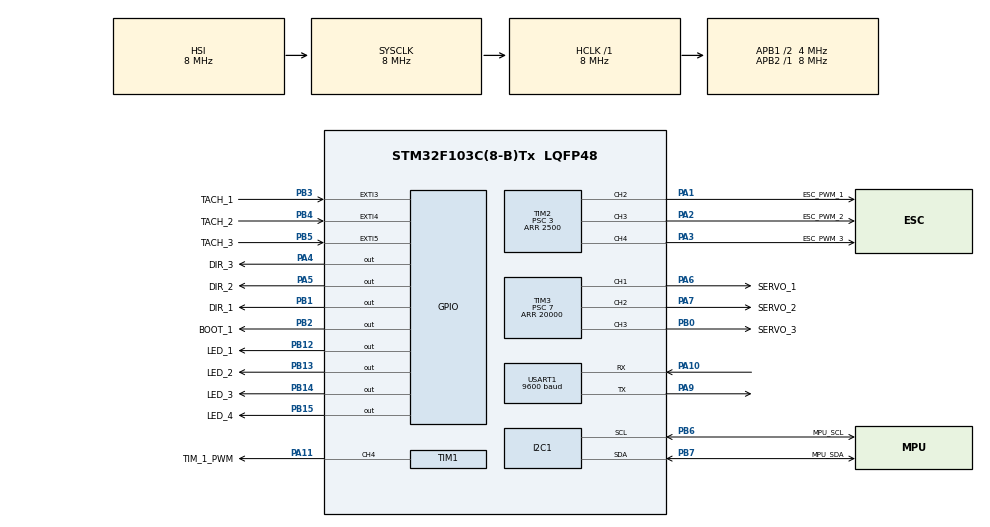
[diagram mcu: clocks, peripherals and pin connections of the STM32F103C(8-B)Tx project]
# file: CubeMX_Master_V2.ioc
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Dma.Request0=USART1_RX
Dma.USART1_RX.0.Direction=DMA_PERIPH_TO_MEMORY
Dma.USART1_RX.0.Instance=DMA1_Channel5
Dma.USART1_RX.0.MemDataAlignment=DMA_MDATAALIGN_BYTE
Dma.USART1_RX.0.MemInc=DMA_MINC_ENABLE
Dma.USART1_RX.0.Mode=DMA_CIRCULAR
Dma.USART1_RX.0.PeriphDataAlignment=DMA_PDATAALIGN_BYTE
Dma.USART1_RX.0.PeriphInc=DMA_PINC_DISABLE
Dma.USART1_RX.0.Priority=DMA_PRIORITY_LOW
Mcu.Family=STM32F1
Mcu.Name=STM32F103C(8-B)Tx
Mcu.Package=LQFP48
NVIC.DMA1_Channel5_IRQn=true\:0\:0\:false\:false\:true\:false
NVIC.PriorityGroup=NVIC_PRIORITYGROUP_4
PA1.GPIO_Label=ESC_PWM_1
PA1.Signal=S_TIM2_CH2
PA10.Mode=Asynchronous
PA10.Signal=USART1_RX
PA11.GPIO_Label=TIM_1_PWM
PA11.Signal=S_TIM1_CH4
PA13.GPIO_Label=DEBUG_SWDIO
PA13.Mode=Serial_Wire
PA13.Signal=SYS_JTMS-SWDIO
PA14.GPIO_Label=DEBUG_SWCLK
PA14.Mode=Serial_Wire
PA14.Signal=SYS_JTCK-SWCLK
PA2.GPIO_Label=ESC_PWM_2
PA2.Signal=S_TIM2_CH3
PA3.GPIO_Label=ESC_PWM_3
PA3.Signal=S_TIM2_CH4
PA4.GPIO_Label=DIR_3
PA4.GPIO_PuPd=GPIO_PULLDOWN
PA4.Signal=GPIO_Output
PA5.GPIO_Label=DIR_2
PA5.GPIO_PuPd=GPIO_PULLDOWN
PA5.Signal=GPIO_Output
PA6.GPIO_Label=SERVO_1
PA6.Signal=S_TIM3_CH1
PA7.GPIO_Label=SERVO_2
PA7.Signal=S_TIM3_CH2
PA9.Mode=Asynchronous
PA9.Signal=USART1_TX
PB0.GPIO_Label=SERVO_3
PB0.Signal=S_TIM3_CH3
PB1.GPIO_Label=DIR_1
PB1.GPIO_PuPd=GPIO_PULLDOWN
PB1.Signal=GPIO_Output
PB12.GPIO_Label=LED_1
PB12.Signal=GPIO_Output
PB13.GPIO_Label=LED_2
PB13.Signal=GPIO_Output
PB14.GPIO_Label=LED_3
PB14.Signal=GPIO_Output
PB15.GPIO_Label=LED_4
PB15.Signal=GPIO_Output
PB2.GPIO_Label=BOOT_1
PB2.Signal=GPIO_Output
PB3.GPIO_Label=TACH_1
PB3.Signal=GPXTI3
PB4.GPIO_Label=TACH_2
PB4.Signal=GPXTI4
PB5.GPIO_Label=TACH_3
PB5.Signal=GPXTI5
PB6.GPIO_Label=MPU_SCL
PB6.Mode=I2C
PB6.Signal=I2C1_SCL
PB7.GPIO_Label=MPU_SDA
PB7.Mode=I2C
PB7.Signal=I2C1_SDA
ProjectManager.HeapSize=0x200
ProjectManager.StackSize=0x400
ProjectManager.TargetToolchain=TrueSTUDIO
RCC.AHBFreq_Value=8000000
RCC.APB1CLKDivider=RCC_HCLK_DIV2
RCC.APB1Freq_Value=4000000
RCC.APB1TimFreq_Value=8000000
RCC.APB2Freq_Value=8000000
RCC.APB2TimFreq_Value=8000000
RCC.HCLKFreq_Value=8000000
RCC.SYSCLKFreq_VALUE=8000000
RCC.USBFreq_Value=8000000
SH.S_TIM1_CH4.0=TIM1_CH4,PWM Generation4 CH4
SH.S_TIM2_CH2.0=TIM2_CH2,PWM Generation2 CH2
SH.S_TIM2_CH3.0=TIM2_CH3,PWM Generation3 CH3
SH.S_TIM2_CH4.0=TIM2_CH4,PWM Generation4 CH4
SH.S_TIM3_CH1.0=TIM3_CH1,PWM Generation1 CH1
SH.S_TIM3_CH2.0=TIM3_CH2,PWM Generation2 CH2
SH.S_TIM3_CH3.0=TIM3_CH3,PWM Generation3 CH3
TIM1.Channel-PWM\ Generation4\ CH4=TIM_CHANNEL_4
TIM1.Period=65535
TIM1.Prescaler=64
TIM2.Channel-PWM\ Generation2\ CH2=TIM_CHANNEL_2
TIM2.Channel-PWM\ Generation3\ CH3=TIM_CHANNEL_3
TIM2.Channel-PWM\ Generation4\ CH4=TIM_CHANNEL_4
TIM2.Period=2500
TIM2.Prescaler=3
TIM3.Channel-PWM\ Generation1\ CH1=TIM_CHANNEL_1
TIM3.Channel-PWM\ Generation2\ CH2=TIM_CHANNEL_2
TIM3.Channel-PWM\ Generation3\ CH3=TIM_CHANNEL_3
TIM3.Period=20000
TIM3.Prescaler=7
USART1.BaudRate=9600
USART1.VirtualMode=VM_ASYNC
VP_TIM2_VS_ClockSourceINT.Mode=Internal
board=custom

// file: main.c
/* USER CODE BEGIN Header */
/**
  ******************************************************************************
  * @file           : main.c
  * @brief          : Main program body
  ******************************************************************************
  ** This notice applies to any and all portions of this file
  * that are not between comment pairs USER CODE BEGIN and
  * USER CODE END. Other portions of this file, whether
  * inserted by the user or by software development tools
  * are owned by their respective copyright owners.
  *
  * COPYRIGHT(c) 2019 STMicroelectronics
  *
  * Redistribution and use in source and binary forms, with or without modification,
  * are permitted provided that the following conditions are met:
  *   1. Redistributions of source code must retain the above copyright notice,
  *      this list of conditions and the following disclaimer.
  *   2. Redistributions in binary form must reproduce the above copyright notice,
  *      this list of conditions and the following disclaimer in the documentation
  *      and/or other materials provided with the distribution.
  *   3. Neither the name of STMicroelectronics nor the names of its contributors
  *      may be used to endorse or promote products derived from this software
  *      without specific prior written permission.
  *
  * THIS SOFTWARE IS PROVIDED BY THE COPYRIGHT HOLDERS AND CONTRIBUTORS "AS IS"
  * AND ANY EXPRESS OR IMPLIED WARRANTIES, INCLUDING, BUT NOT LIMITED TO, THE
  * IMPLIED WARRANTIES OF MERCHANTABILITY AND FITNESS FOR A PARTICULAR PURPOSE ARE
  * DISCLAIMED. IN NO EVENT SHALL THE COPYRIGHT HOLDER OR CONTRIBUTORS BE LIABLE
  * FOR ANY DIRECT, INDIRECT, INCIDENTAL, SPECIAL, EXEMPLARY, OR CONSEQUENTIAL
  * DAMAGES (INCLUDING, BUT NOT LIMITED TO, PROCUREMENT OF SUBSTITUTE GOODS OR
  * SERVICES; LOSS OF USE, DATA, OR PROFITS; OR BUSINESS INTERRUPTION) HOWEVER
  * CAUSED AND ON ANY THEORY OF LIABILITY, WHETHER IN CONTRACT, STRICT LIABILITY,
  * OR TORT (INCLUDING NEGLIGENCE OR OTHERWISE) ARISING IN ANY WAY OUT OF THE USE
  * OF THIS SOFTWARE, EVEN IF ADVISED OF THE POSSIBILITY OF SUCH DAMAGE.
  *
  ******************************************************************************
  */
/* USER CODE END Header */

#include "main.h"

/* USER CODE BEGIN Includes */
#include <stdlib.h>
#include "quaternionFilters.h"

/* USER CODE END Includes */

I2C_HandleTypeDef hi2c1;

TIM_HandleTypeDef htim1;
TIM_HandleTypeDef htim2;
TIM_HandleTypeDef htim3;

UART_HandleTypeDef huart1;
DMA_HandleTypeDef hdma_usart1_rx;

void SystemClock_Config(void);
static void MX_GPIO_Init(void);
static void MX_DMA_Init(void);
static void MX_I2C1_Init(void);
static void MX_USART1_UART_Init(void);
static void MX_TIM2_Init(void);
static void MX_TIM3_Init(void);
static void MX_TIM1_Init(void);

/* USER CODE BEGIN 0 */

//Stuff for cube flip
int pwm_esc1 = 0;
int pwm_esc2 = 0;
int pwm_esc3 = 0;

int pwm_servo1 = 0;
int pwm_servo2 = 0;
int pwm_servo3 = 0;
int dummy = 0;

//Stuff for loop time
uint8_t sendCount;
uint32_t mainCountPrev, mainCountCurr, mainCount;

//Stuff for Bluetooth
uint8_t dataRX[6];
uint8_t dataTX[100];

//Stuff for MPU
uint8_t i2cBuff[15];
uint16_t mpu6050Address = 0xD0;
uint16_t ak8963Address = 0x18;
int16_t gx, gy, gz, ax, ay, az, mx, my, mz;
int32_t gxOff, gyOff, gzOff;
int32_t axOff, ayOff, azOff;
int32_t mxOff, myOff, mzOff;
float mxScale, myScale, mzScale;
uint16_t loop;
double Xang, Yang, Zang;
double XangVel, YangVel, ZangVel, Xacc, Yacc, Zacc;
double XDegree, YDegree, ZDegree;
double XgyroAng, YgyroAng, ZgyroAng, XaccAng, YaccAng, ZaccAng;
float alpha = 0.02;
uint8_t outstrX[10];
uint8_t outstrY[10];
uint8_t outstrZ[10];

//Stuff for printing the angles
char *XSign, *YSign, *ZSign;
float XVal, YVal, ZVal;
int XInt1, YInt1, ZInt1;
float XFrac, YFrac, ZFrac;
int XInt2, YInt2, ZInt2;

char *XGyrSign, *YGyrSign, *ZGyrSign;
float XGyrVal, YGyrVal, ZGyrVal;
int XGyrInt1, YGyrInt1, ZGyrInt1;
float XGyrFrac, YGyrFrac, ZGyrFrac;
int XGyrInt2, YGyrInt2, ZGyrInt2;

char *XAccSign, *YAccSign, *ZAccSign;
float XAccVal, YAccVal, ZAccVal;
int XAccInt1, YAccInt1, ZAccInt1;
float XAccFrac, YAccFrac, ZAccFrac;
int XAccInt2, YAccInt2, ZAccInt2;

/* USER CODE END 0 */

int main(void)
{

  /* MCU Configuration--------------------------------------------------------*/

  /* Reset of all peripherals, Initializes the Flash interface and the Systick. */
  HAL_Init();

  /* Configure the system clock */
  SystemClock_Config();

  /* Initialize all configured peripherals */
  MX_GPIO_Init();
  MX_DMA_Init();
  MX_I2C1_Init();
  MX_USART1_UART_Init();
  MX_TIM2_Init();
  MX_TIM3_Init();
  MX_TIM1_Init();
  /* USER CODE BEGIN 2 */

  //Begin PWM
  HAL_TIM_PWM_Start(&htim1, TIM_CHANNEL_4);
  HAL_TIM_PWM_Start(&htim2, TIM_CHANNEL_3);
  HAL_TIM_PWM_Start(&htim3, TIM_CHANNEL_3);
  HAL_Delay(3000);
  __HAL_TIM_SET_COMPARE(&htim2, TIM_CHANNEL_3, 350);
  __HAL_TIM_SET_COMPARE(&htim3, TIM_CHANNEL_3, 700); // 680 implies the brake is not active

  //Enable i2c bypass on mpu9250
  i2cBuff[0] = 0x37;
  i2cBuff[1] = 0x02;
  HAL_I2C_Master_Transmit(&hi2c1, mpu6050Address, i2cBuff, 2, 100);

  //Wake up MPU
  i2cBuff[0] = 0x6B;
  i2cBuff[1] = 0x00;
  HAL_I2C_Master_Transmit(&hi2c1, mpu6050Address, i2cBuff, 2, 100);

  //Set Gyro Range to +/- 250 deg/sec
  i2cBuff[0] = 0x27;
  i2cBuff[1] = 0x00;
  HAL_I2C_Master_Transmit(&hi2c1, mpu6050Address, i2cBuff, 2, 100);

  //Set Accel Range to +/- 2g
  i2cBuff[0] = 0x1C;
  i2cBuff[1] = 0x00;
  HAL_I2C_Master_Transmit(&hi2c1, mpu6050Address, i2cBuff, 2, 100);

  //Set Mag range to 16 bits and mode to continuous 100Hz measurement
  i2cBuff[0] = 0x0A;
  i2cBuff[1] = 0x16;
  HAL_I2C_Master_Transmit(&hi2c1, ak8963Address, i2cBuff, 2, 100);

  //Get data from Bluetooth
  sprintf(dataTX, "Press any Button to Start.\r\n");
  HAL_UART_Transmit(&huart1, dataTX, strlen(dataTX), 1000);
  sprintf(dataRX, "______");
  HAL_UART_Receive_DMA(&huart1, dataRX, 6);

  //Set initial offsets
  gxOff = -480; //X-Offset
  gyOff = 100; //Y-Offset
  gzOff = 100; //Z-Offset
  axOff = 700; //X-Offset
  ayOff = -650; //Y-Offset
  azOff = -1800; //Z-Offset

  /* USER CODE END 2 */

  /* Infinite loop */
  while (1)
  {

    /* USER CODE BEGIN 3 */

	  //See if mag data is ready
	  i2cBuff[0]= 0x02; //Data is ready register
	  HAL_I2C_Master_Transmit(&hi2c1, ak8963Address, i2cBuff, 1, 20);
	  i2cBuff[1] = 0x00;
	  HAL_I2C_Master_Receive(&hi2c1, ak8963Address, &i2cBuff[1], 1, 20);
	  if (i2cBuff[1] & 0x01){
		  //Get mag data
		  i2cBuff[0]= 0x03; //Magnetometer address
		  HAL_I2C_Master_Transmit(&hi2c1, ak8963Address, i2cBuff, 1, 20);
		  i2cBuff[1] = 0x00;
		  HAL_I2C_Master_Receive(&hi2c1, ak8963Address, &i2cBuff[1], 7, 20);
		  //See if magnetometer has overflowed
		  if (!(i2cBuff[7] & 0x08)){
			  mx = (i2cBuff[2]<<8  |  i2cBuff[1]);
			  my = (i2cBuff[4]<<8  |  i2cBuff[3]);
			  mz = (i2cBuff[6]<<8  |  i2cBuff[5]);
			  //sprintf(dataTX, "Xmag = %d, Ymag = %d, Zmag = %d\r\n", mx, my, mz);
			  //HAL_UART_Transmit(&huart1, dataTX, strlen(dataTX), 1000);
		  }
	  }

	  //For testing
	  HAL_GPIO_WritePin(GPIOB, GPIO_PIN_14, 1);

	  //Get gyroscope info
	  i2cBuff[0]= 0x3B; //Accelerometer addresses
	  HAL_I2C_Master_Transmit(&hi2c1, mpu6050Address, i2cBuff, 1, 20);

	  i2cBuff[1] = 0x00;
	  HAL_I2C_Master_Receive(&hi2c1, mpu6050Address, &i2cBuff[1], 14, 20);

	  ax = (i2cBuff[1]<<8 | i2cBuff[2]);
	  ay = (i2cBuff[3]<<8 | i2cBuff[4]);
	  az = (i2cBuff[5]<<8 | i2cBuff[6]);
	  gx = (i2cBuff[9]<<8  | i2cBuff[10]);
	  gy = (i2cBuff[11]<<8 | i2cBuff[12]);
	  gz = (i2cBuff[13]<<8 | i2cBuff[14]);

	  //Subtract offsets
	  gx -=  gxOff; //X-Offset
	  gy -=  gyOff; //Y-Offset
	  gz -=  gzOff; //Z-Offset
	  ax -=  axOff; //X-Offset
	  ay -=  ayOff; //Y-Offset
	  az -=  azOff; //Z-Offset

	  //Convert accelerations to g's
	  Xacc = ((double)ax / 32768) * 2;
	  Yacc = ((double)ay / 32768) * 2;
	  Zacc = ((double)az / 32768) * 2;

	  //Find angle from direction of gravitational acceleration
	  XaccAng = atan2(Yacc, sqrt((Xacc * Xacc) + (Zacc * Zacc))) * 57.2958;
	  YaccAng = -atan2(Xacc, sqrt((Yacc * Yacc) + (Zacc * Zacc))) * 57.2958;
	  ZaccAng = atan2(Zacc, sqrt((Xacc * Xacc) + (Yacc * Yacc))) * 57.2958;

	  //Find angle from direction of gravitational acceleration using other formula
	  //XaccAng = atan2(Yacc, Zacc) * 57.2958;
	  //YaccAng = atan2(Xacc, Zacc) * 57.2958;
	  //ZaccAng = atan2(Xacc, Yacc) * 57.2958;

	  //Convert angular velocities to deg/sec
	  XangVel = ((double)gx / 32768) * 250;
	  YangVel = ((double)gy / 32768) * 250;
	  ZangVel = ((double)gz / 32768) * 250;

	  //Get the time since the last MPU read
	  mainCountCurr = (uint32_t)__HAL_TIM_GET_COUNTER(&htim1); //Using timer 1 for testing
	  mainCount = mainCountCurr - mainCountPrev;
	  if (mainCount > 66000){
		  mainCount = mainCount + 65535; //Make mainCount positive if the timer rolled over
	  }
	  mainCountPrev = mainCountCurr;
	  mainCount = (mainCount * 64) / 8; //Main loop time in us

	  //Find degrees turned since last read
	  /*XDegree = XangVel * ((float)mainCount / 1000000); //Using a sampling rate of 10 ms
	  YDegree = YangVel * ((float)mainCount / 1000000); //Main loop seems to take an extra 4 ms
	  ZDegree = ZangVel * ((float)mainCount / 1000000);*/

	    XDegree = XangVel * 0.013; //Using a sampling rate of 10 ms
	    YDegree = YangVel * 0.013; //Main loop seems to take an extra 4 ms
	  	ZDegree = ZangVel * 0.013;

	  //Integrate angular velocities
	  XgyroAng += XDegree;
	  YgyroAng += YDegree;
	  ZgyroAng += ZDegree;

	  //Get the filtered angles
	  Xang = ((1.0 - alpha) * (Xang + XDegree)) + (alpha * XaccAng);
	  Yang = ((1.0 - alpha) * (Yang + YDegree)) + (alpha * YaccAng);
	  Zang = ((1.0 - alpha) * (Zang + ZDegree)) + (alpha * ZaccAng);

	  //Test motor
	  if (strcmp(dataRX, "TEST\r\n") == 0) {
		  sprintf(dataRX, "______");
	  	  sprintf(dataTX, "Testing Motors...\r\n");
	  	  HAL_UART_Transmit(&huart1, dataTX, strlen(dataTX), 1000);

		  //Motor Test Code
		  HAL_Delay(3000);
		  for(pwm_esc1 = 350; pwm_esc1 <= 2100; pwm_esc1++ ){
			  __HAL_TIM_SET_COMPARE(&htim2, TIM_CHANNEL_3, pwm_esc1);
			  HAL_Delay(30);
		  }

		  __HAL_TIM_SET_COMPARE(&htim2, TIM_CHANNEL_3, 350);
		  sprintf(dataTX, "Test Finished!\r\n");
		  HAL_UART_Transmit(&huart1, dataTX, strlen(dataTX), 1000);
	  }

	  //Test servo
      if (strcmp(dataRX, "SERV\r\n") == 0) {
	  	  sprintf(dataRX, "______");
	   	  sprintf(dataTX, "Testing Servo...\r\n");
	   	  HAL_UART_Transmit(&huart1, dataTX, strlen(dataTX), 1000);

	  	  //Motor Test Code
	  	  HAL_Delay(3000);
	  	  for(pwm_servo1 = 700; pwm_servo1 >= 580; pwm_servo1-- ){
	  		  __HAL_TIM_SET_COMPARE(&htim3, TIM_CHANNEL_3, pwm_servo1);
	  		  HAL_Delay(100);
	  	  }

  		  __HAL_TIM_SET_COMPARE(&htim3, TIM_CHANNEL_3, 680);
  		  sprintf(dataTX, "Test Finished!\r\n");
  		  HAL_UART_Transmit(&huart1, dataTX, strlen(dataTX), 1000);
  	  }

	  //Test cube flip
      if (strcmp(dataRX, "FLIP\r\n") == 0) {
	  	  sprintf(dataRX, "______");
	   	  sprintf(dataTX, "Flipping Cube...\r\n");
	   	  HAL_UART_Transmit(&huart1, dataTX, strlen(dataTX), 1000);

	  	  //Cube Flip Test Code
		  HAL_Delay(5000);                                    //Small delay before flipping program begins
		  __HAL_TIM_SET_COMPARE(&htim3, TIM_CHANNEL_3, 700);  //Deactivate brake
		  HAL_Delay(500);                                     //Small delay for timing purposes
	   	  sprintf(dataTX, "Ramping up motor...\r\n");
	   	  HAL_UART_Transmit(&huart1, dataTX, strlen(dataTX), 1000);
		  for (pwm_esc1 = 350; pwm_esc1 <= 1800; pwm_esc1++ ){
			  __HAL_TIM_SET_COMPARE(&htim2, TIM_CHANNEL_3, pwm_esc1); //Slowly ramp wheel to max speed
			  HAL_Delay(25);
		  }
		  //__HAL_TIM_SET_COMPARE(&htim2, TIM_CHANNEL_2, 1500); //Set wheel to max speed
	   	  sprintf(dataTX, "About to flip...\r\n");
	   	  HAL_UART_Transmit(&huart1, dataTX, strlen(dataTX), 1000);
		  HAL_Delay(12000);                                   //Gives 12 seconds for wheel to spin up
		  __HAL_TIM_SET_COMPARE(&htim2, TIM_CHANNEL_3, 0);    //Cuts power to wheel
		  HAL_Delay(20);                                      //Small delay so events don't overlap
		  __HAL_TIM_SET_COMPARE(&htim3, TIM_CHANNEL_3, 560);  //Activate brake
		  HAL_Delay(1000);                                    //Waits 1 second for timing purposes
		  __HAL_TIM_SET_COMPARE(&htim3, TIM_CHANNEL_3, 700);  //Deactivate brake
		  __HAL_TIM_SET_COMPARE(&htim2, TIM_CHANNEL_3, 0);  //Reset motor to normal running speed

  		  sprintf(dataTX, "Test Finished!\r\n");
  		  HAL_UART_Transmit(&huart1, dataTX, strlen(dataTX), 1000);
  	  }

	  //Get loop time
	  if (strcmp(dataRX, "TIME\r\n") == 0) {
		  sprintf(dataTX, "%lu\r\n", mainCount);
		  HAL_UART_Transmit(&huart1, dataTX, strlen(dataTX), 1000);
	  }

	  //Calibrate
	  if (strcmp(dataRX, "CALB\r\n") == 0) {
		  //Send confirmation to Bluetooth
		  sprintf(dataRX, "______");
		  sprintf(dataTX, "Calibration Starting....\r\n");
		  HAL_UART_Transmit(&huart1, dataTX, strlen(dataTX), 1000);

		  gxOff = 0; //X-Offset
		  gyOff = 0; //Y-Offset
		  gzOff = 0; //Z-Offset
		  axOff = 0; //X-Offset
		  ayOff = 0; //Y-Offset
		  azOff = 0; //Z-Offset

		  //Reset gyro angles
		  XgyroAng = 0;
		  YgyroAng = 0;
		  ZgyroAng = 0;

		  //Burn 100 read cycles
		  for (loop = 0; loop < 100; loop++){
			  i2cBuff[0]= 0x3B; //Accelerometer addresses
			  HAL_I2C_Master_Transmit(&hi2c1, mpu6050Address, i2cBuff, 1, 20);
			  i2cBuff[1] = 0x00;
			  HAL_I2C_Master_Receive(&hi2c1, mpu6050Address, &i2cBuff[1], 14, 20);
		  }

		  //Add the next 1000 reads
		  for (loop = 0; loop < 1000; loop++){
		  	  i2cBuff[0]= 0x3B; //Accelerometer addresses
		  	  HAL_I2C_Master_Transmit(&hi2c1, mpu6050Address, i2cBuff, 1, 20);
		      i2cBuff[1] = 0x00;
		      HAL_I2C_Master_Receive(&hi2c1, mpu6050Address, &i2cBuff[1], 14, 20);

		      ax = (i2cBuff[1]<<8  |  i2cBuff[2]);
		      ay = (i2cBuff[3]<<8  |  i2cBuff[4]);
		      az = (i2cBuff[5]<<8  |  i2cBuff[6]);
		      gx = (i2cBuff[9]<<8  | i2cBuff[10]);
		      gy = (i2cBuff[11]<<8 | i2cBuff[12]);
		      gz = (i2cBuff[13]<<8 | i2cBuff[14]);

		      axOff += ax;
		      ayOff += ay;
		      azOff += (az - 16384);
		      gxOff += gx;
		      gyOff += gy;
		      gzOff += gz;
		  }

		  //Find the averages
		  axOff /= 1000;
		  ayOff /= 1000;
		  azOff /= 1000;
		  gxOff /= 1000;
		  gyOff /= 1000;
		  gzOff /= 1000;

/*
		  sprintf(dataTX, "Wave the device in a figure-eight pattern.\r\n");
		  HAL_UART_Transmit(&huart1, dataTX, strlen(dataTX), 1000);

		  //Calibrate magnetometer
		  uint16_t ii = 0;
		  int32_t mag_bias[3]  = {0, 0, 0},
		          mag_scale[3] = {0, 0, 0};
		  int16_t mag_max[3]   = {-32768, -32768, -32768},
		          mag_min[3]   = {32767, 32767, 32767},
		          mag_temp[3]  = {0, 0, 0};

		  for (ii = 0; ii < 1500; ii++){

			i2cBuff[0]= 0x03;
			HAL_I2C_Master_Transmit(&hi2c1, ak8963Address, i2cBuff, 1, 20);
			i2cBuff[1] = 0x00;
			HAL_I2C_Master_Receive(&hi2c1, ak8963Address, &i2cBuff[1], 6, 20);
			mag_temp[0] = (i2cBuff[2]<<8  |  i2cBuff[1]);
			mag_temp[1] = (i2cBuff[4]<<8  |  i2cBuff[3]);
			mag_temp[2] = (i2cBuff[6]<<8  |  i2cBuff[5]);

		    for (int jj = 0; jj < 3; jj++){
		      if (mag_temp[jj] > mag_max[jj]){
		        mag_max[jj] = mag_temp[jj];
		      }
		      if (mag_temp[jj] < mag_min[jj]){
		        mag_min[jj] = mag_temp[jj];
		      }
		    }

		    HAL_Delay(12);
		  }

		  // Get hard iron correction
		  // Get 'average' x mag bias in counts
		  mag_bias[0] = (mag_max[0] + mag_min[0]) / 2;
		  // Get 'average' y mag bias in counts
		  mag_bias[1] = (mag_max[1] + mag_min[1]) / 2;
		  // Get 'average' z mag bias in counts
		  mag_bias[2] = (mag_max[2] + mag_min[2]) / 2;

		  mxOff = mag_bias[0];
		  myOff = mag_bias[1];
		  mzOff = mag_bias[2];

		  // Get soft iron correction estimate
		  // Get average x axis max chord length in counts
		  mag_scale[0] = (mag_max[0] - mag_min[0]) / 2;
		  // Get average y axis max chord length in counts
		  mag_scale[1] = (mag_max[1] - mag_min[1]) / 2;
		  // Get average z axis max chord length in counts
		  mag_scale[2] = (mag_max[2] - mag_min[2]) / 2;

		  float avg_rad = mag_scale[0] + mag_scale[1] + mag_scale[2];
		  avg_rad /= 3.0;

		  mxScale = avg_rad / ((float)mag_scale[0]);
		  myScale = avg_rad / ((float)mag_scale[1]);
		  mzScale = avg_rad / ((float)mag_scale[2]);

		  //Send confirmation of calibration to Bluetooth
		  sprintf(dataTX, "Finished!\nCalibration Offsets are:\naxOff=%d, ayOff=%d, azOff=%d,\ngxOff=%d, gyOff=%d, gzOff=%d,"
				  "\nmxOff=%d, myOff=%d, mzOff=%d,\nmxScale=%d, myScale=%d, mzScale=%d\r\n",
				  axOff, ayOff, azOff, gxOff, gyOff, gzOff,
				  mxOff, myOff, mzOff, mxScale, myScale, mzScale);
		  HAL_UART_Transmit(&huart1, dataTX, strlen(dataTX), 1000);
		  */
	  }

	  //Send angle info to Bluetooth for testing purposes
	  if ((strcmp(dataRX, "SEND\r\n") == 0) && ((sendCount % 16) == 0)) {
		  //Clear RX buffer
		  //sprintf(dataRX, "______");

		  //This converts the floats to a series of three ints,
		  //As there is no support for printing floats in the STM32
		  XGyrSign = (XgyroAng < 0) ? "-" : " ";
		  XGyrVal = (XgyroAng < 0) ? -XgyroAng : XgyroAng;
		  XGyrInt1 = XGyrVal;                      // Get the integer
		  XGyrFrac = XGyrVal - XGyrInt1;            // Get fraction
		  XGyrInt2 = trunc(XGyrFrac * 100);        // Turn into integer

		  YGyrSign = (YgyroAng < 0) ? "-" : " ";
		  YGyrVal = (YgyroAng < 0) ? -YgyroAng : YgyroAng;
		  YGyrInt1 = YGyrVal;                      // Get the integer
		  YGyrFrac = YGyrVal - YGyrInt1;            // Get fraction
		  YGyrInt2 = trunc(YGyrFrac * 100);        // Turn into integer

		  ZGyrSign = (ZgyroAng < 0) ? "-" : " ";
		  ZGyrVal = (ZgyroAng < 0) ? -ZgyroAng : ZgyroAng;
		  ZGyrInt1 = ZGyrVal;                      // Get the integer
		  ZGyrFrac = ZGyrVal - ZGyrInt1;            // Get fraction
		  ZGyrInt2 = trunc(ZGyrFrac * 100);        // Turn into integer
		  //sprintf(dataTX, "Xacc = %d, Yacc = %d, Zacc = %d\r\n", ax, ay, az);

		  //This converts the floats to a series of three ints
		  XAccSign = (XaccAng < 0) ? "-" : " ";
		  XAccVal = (XaccAng < 0) ? -XaccAng : XaccAng;
		  XAccInt1 = XAccVal;                      // Get the integer
		  XAccFrac = XAccVal - XAccInt1;              // Get fraction
		  XAccInt2 = trunc(XAccFrac * 100);        // Turn into integer

		  YAccSign = (YaccAng < 0) ? "-" : " ";
		  YAccVal = (YaccAng < 0) ? -YaccAng : YaccAng;
		  YAccInt1 = YAccVal;                      // Get the integer
		  YAccFrac = YAccVal - YAccInt1;              // Get fraction
		  YAccInt2 = trunc(YAccFrac * 100);        // Turn into integer

		  ZAccSign = (ZaccAng < 0) ? "-" : " ";
		  ZAccVal = (ZaccAng < 0) ? -ZaccAng : ZaccAng;
		  ZAccInt1 = ZAccVal;                      // Get the integer
		  ZAccFrac = ZAccVal - ZAccInt1;              // Get fraction
		  ZAccInt2 = trunc(ZAccFrac * 100);        // Turn into integer
		  //sprintf(dataTX, "Xang = %d, Yang = %d, Zang = %d\r\n", gx, gy, gz);

		  //This converts the floats to a series of three ints
		  XSign = (Xang < 0) ? "-" : " ";
		  XVal = (Xang < 0) ? -Xang : Xang;
		  XInt1 = XVal;                      // Get the integer
		  XFrac = XVal - XInt1;              // Get fraction
		  XInt2 = trunc(XFrac * 100);        // Turn into integer

		  YSign = (Yang < 0) ? "-" : " ";
		  YVal = (Yang < 0) ? -Yang : Yang;
		  YInt1 = YVal;                      // Get the integer
		  YFrac = YVal - YInt1;              // Get fraction
		  YInt2 = trunc(YFrac * 100);        // Turn into integer

		  ZSign = (Zang < 0) ? "-" : " ";
		  ZVal = (Zang < 0) ? -Zang : Zang;
		  ZInt1 = ZVal;                      // Get the integer
		  ZFrac = ZVal - ZInt1;              // Get fraction
		  ZInt2 = trunc(ZFrac * 100);        // Turn into integer

		  sprintf(dataTX, "%s%d.%02d,%s%d.%02d, %s%d.%02d,%s%d.%02d, %s%d.%02d,%s%d.%02d\r\n",
		  		  XGyrSign, XGyrInt1, XGyrInt2, YGyrSign, YGyrInt1, YGyrInt2,
		  		  XAccSign, XAccInt1, XAccInt2, YAccSign, YAccInt1, YAccInt2,
				  XSign, XInt1, XInt2, YSign, YInt1, YInt2);

		  //Send Bluetooth
		  HAL_UART_Transmit(&huart1, dataTX, strlen(dataTX), 1000);
	  }
	  sendCount++;

	  //For testing
	  HAL_GPIO_WritePin(GPIOB, GPIO_PIN_14, 0);
	  HAL_Delay(10);
  }
  /* USER CODE END 3 */
}

void SystemClock_Config(void)
{
  RCC_OscInitTypeDef RCC_OscInitStruct = {0};
  RCC_ClkInitTypeDef RCC_ClkInitStruct = {0};

  /**Initializes the CPU, AHB and APB busses clocks
  */
  RCC_OscInitStruct.OscillatorType = RCC_OSCILLATORTYPE_HSI;
  RCC_OscInitStruct.HSIState = RCC_HSI_ON;
  RCC_OscInitStruct.HSICalibrationValue = RCC_HSICALIBRATION_DEFAULT;
  RCC_OscInitStruct.PLL.PLLState = RCC_PLL_NONE;
  if (HAL_RCC_OscConfig(&RCC_OscInitStruct) != HAL_OK)
  {
    Error_Handler();
  }
  /**Initializes the CPU, AHB and APB busses clocks
  */
  RCC_ClkInitStruct.ClockType = RCC_CLOCKTYPE_HCLK|RCC_CLOCKTYPE_SYSCLK
                              |RCC_CLOCKTYPE_PCLK1|RCC_CLOCKTYPE_PCLK2;
  RCC_ClkInitStruct.SYSCLKSource = RCC_SYSCLKSOURCE_HSI;
  RCC_ClkInitStruct.AHBCLKDivider = RCC_SYSCLK_DIV1;
  RCC_ClkInitStruct.APB1CLKDivider = RCC_HCLK_DIV2;
  RCC_ClkInitStruct.APB2CLKDivider = RCC_HCLK_DIV1;

  if (HAL_RCC_ClockConfig(&RCC_ClkInitStruct, FLASH_LATENCY_0) != HAL_OK)
  {
    Error_Handler();
  }
}

static void MX_I2C1_Init(void)
{

  hi2c1.Instance = I2C1;
  hi2c1.Init.ClockSpeed = 100000;
  hi2c1.Init.DutyCycle = I2C_DUTYCYCLE_2;
  hi2c1.Init.OwnAddress1 = 0;
  hi2c1.Init.AddressingMode = I2C_ADDRESSINGMODE_7BIT;
  hi2c1.Init.DualAddressMode = I2C_DUALADDRESS_DISABLE;
  hi2c1.Init.OwnAddress2 = 0;
  hi2c1.Init.GeneralCallMode = I2C_GENERALCALL_DISABLE;
  hi2c1.Init.NoStretchMode = I2C_NOSTRETCH_DISABLE;
  if (HAL_I2C_Init(&hi2c1) != HAL_OK)
  {
    Error_Handler();
  }

}

static void MX_TIM1_Init(void)
{

  TIM_MasterConfigTypeDef sMasterConfig = {0};
  TIM_OC_InitTypeDef sConfigOC = {0};
  TIM_BreakDeadTimeConfigTypeDef sBreakDeadTimeConfig = {0};

  htim1.Instance = TIM1;
  htim1.Init.Prescaler = 64;
  htim1.Init.CounterMode = TIM_COUNTERMODE_UP;
  htim1.Init.Period = 65535;
  htim1.Init.ClockDivision = TIM_CLOCKDIVISION_DIV1;
  htim1.Init.RepetitionCounter = 0;
  htim1.Init.AutoReloadPreload = TIM_AUTORELOAD_PRELOAD_DISABLE;
  if (HAL_TIM_PWM_Init(&htim1) != HAL_OK)
  {
    Error_Handler();
  }
  sMasterConfig.MasterOutputTrigger = TIM_TRGO_RESET;
  sMasterConfig.MasterSlaveMode = TIM_MASTERSLAVEMODE_DISABLE;
  if (HAL_TIMEx_MasterConfigSynchronization(&htim1, &sMasterConfig) != HAL_OK)
  {
    Error_Handler();
  }
  sConfigOC.OCMode = TIM_OCMODE_PWM1;
  sConfigOC.Pulse = 0;
  sConfigOC.OCPolarity = TIM_OCPOLARITY_HIGH;
  sConfigOC.OCFastMode = TIM_OCFAST_DISABLE;
  sConfigOC.OCIdleState = TIM_OCIDLESTATE_RESET;
  sConfigOC.OCNIdleState = TIM_OCNIDLESTATE_RESET;
  if (HAL_TIM_PWM_ConfigChannel(&htim1, &sConfigOC, TIM_CHANNEL_4) != HAL_OK)
  {
    Error_Handler();
  }
  sBreakDeadTimeConfig.OffStateRunMode = TIM_OSSR_DISABLE;
  sBreakDeadTimeConfig.OffStateIDLEMode = TIM_OSSI_DISABLE;
  sBreakDeadTimeConfig.LockLevel = TIM_LOCKLEVEL_OFF;
  sBreakDeadTimeConfig.DeadTime = 0;
  sBreakDeadTimeConfig.BreakState = TIM_BREAK_DISABLE;
  sBreakDeadTimeConfig.BreakPolarity = TIM_BREAKPOLARITY_HIGH;
  sBreakDeadTimeConfig.AutomaticOutput = TIM_AUTOMATICOUTPUT_DISABLE;
  if (HAL_TIMEx_ConfigBreakDeadTime(&htim1, &sBreakDeadTimeConfig) != HAL_OK)
  {
    Error_Handler();
  }
  HAL_TIM_MspPostInit(&htim1);

}

static void MX_TIM2_Init(void)
{

  TIM_ClockConfigTypeDef sClockSourceConfig = {0};
  TIM_MasterConfigTypeDef sMasterConfig = {0};
  TIM_OC_InitTypeDef sConfigOC = {0};

  htim2.Instance = TIM2;
  htim2.Init.Prescaler = 3;
  htim2.Init.CounterMode = TIM_COUNTERMODE_UP;
  htim2.Init.Period = 2500;
  htim2.Init.ClockDivision = TIM_CLOCKDIVISION_DIV1;
  htim2.Init.AutoReloadPreload = TIM_AUTORELOAD_PRELOAD_DISABLE;
  if (HAL_TIM_Base_Init(&htim2) != HAL_OK)
  {
    Error_Handler();
  }
  sClockSourceConfig.ClockSource = TIM_CLOCKSOURCE_INTERNAL;
  if (HAL_TIM_ConfigClockSource(&htim2, &sClockSourceConfig) != HAL_OK)
  {
    Error_Handler();
  }
  if (HAL_TIM_PWM_Init(&htim2) != HAL_OK)
  {
    Error_Handler();
  }
  sMasterConfig.MasterOutputTrigger = TIM_TRGO_RESET;
  sMasterConfig.MasterSlaveMode = TIM_MASTERSLAVEMODE_DISABLE;
  if (HAL_TIMEx_MasterConfigSynchronization(&htim2, &sMasterConfig) != HAL_OK)
  {
    Error_Handler();
  }
  sConfigOC.OCMode = TIM_OCMODE_PWM1;
  sConfigOC.Pulse = 0;
  sConfigOC.OCPolarity = TIM_OCPOLARITY_HIGH;
  sConfigOC.OCFastMode = TIM_OCFAST_DISABLE;
  if (HAL_TIM_PWM_ConfigChannel(&htim2, &sConfigOC, TIM_CHANNEL_2) != HAL_OK)
  {
    Error_Handler();
  }
  if (HAL_TIM_PWM_ConfigChannel(&htim2, &sConfigOC, TIM_CHANNEL_3) != HAL_OK)
  {
    Error_Handler();
  }
  if (HAL_TIM_PWM_ConfigChannel(&htim2, &sConfigOC, TIM_CHANNEL_4) != HAL_OK)
  {
    Error_Handler();
  }
  HAL_TIM_MspPostInit(&htim2);

}

static void MX_TIM3_Init(void)
{

  TIM_MasterConfigTypeDef sMasterConfig = {0};
  TIM_OC_InitTypeDef sConfigOC = {0};

  htim3.Instance = TIM3;
  htim3.Init.Prescaler = 7;
  htim3.Init.CounterMode = TIM_COUNTERMODE_UP;
  htim3.Init.Period = 20000;
  htim3.Init.ClockDivision = TIM_CLOCKDIVISION_DIV1;
  htim3.Init.AutoReloadPreload = TIM_AUTORELOAD_PRELOAD_DISABLE;
  if (HAL_TIM_PWM_Init(&htim3) != HAL_OK)
  {
    Error_Handler();
  }
  sMasterConfig.MasterOutputTrigger = TIM_TRGO_RESET;
  sMasterConfig.MasterSlaveMode = TIM_MASTERSLAVEMODE_DISABLE;
  if (HAL_TIMEx_MasterConfigSynchronization(&htim3, &sMasterConfig) != HAL_OK)
  {
    Error_Handler();
  }
  sConfigOC.OCMode = TIM_OCMODE_PWM1;
  sConfigOC.Pulse = 0;
  sConfigOC.OCPolarity = TIM_OCPOLARITY_HIGH;
  sConfigOC.OCFastMode = TIM_OCFAST_DISABLE;
  if (HAL_TIM_PWM_ConfigChannel(&htim3, &sConfigOC, TIM_CHANNEL_1) != HAL_OK)
  {
    Error_Handler();
  }
  if (HAL_TIM_PWM_ConfigChannel(&htim3, &sConfigOC, TIM_CHANNEL_2) != HAL_OK)
  {
    Error_Handler();
  }
  if (HAL_TIM_PWM_ConfigChannel(&htim3, &sConfigOC, TIM_CHANNEL_3) != HAL_OK)
  {
    Error_Handler();
  }
  HAL_TIM_MspPostInit(&htim3);

}

static void MX_USART1_UART_Init(void)
{

  huart1.Instance = USART1;
  huart1.Init.BaudRate = 9600;
  huart1.Init.WordLength = UART_WORDLENGTH_8B;
  huart1.Init.StopBits = UART_STOPBITS_1;
  huart1.Init.Parity = UART_PARITY_NONE;
  huart1.Init.Mode = UART_MODE_TX_RX;
  huart1.Init.HwFlowCtl = UART_HWCONTROL_NONE;
  huart1.Init.OverSampling = UART_OVERSAMPLING_16;
  if (HAL_UART_Init(&huart1) != HAL_OK)
  {
    Error_Handler();
  }

}

static void MX_DMA_Init(void)
{
  /* DMA controller clock enable */
  __HAL_RCC_DMA1_CLK_ENABLE();

  /* DMA interrupt init */
  /* DMA1_Channel5_IRQn interrupt configuration */
  HAL_NVIC_SetPriority(DMA1_Channel5_IRQn, 0, 0);
  HAL_NVIC_EnableIRQ(DMA1_Channel5_IRQn);

}

static void MX_GPIO_Init(void)
{
  GPIO_InitTypeDef GPIO_InitStruct = {0};

  /* GPIO Ports Clock Enable */
  __HAL_RCC_GPIOA_CLK_ENABLE();
  __HAL_RCC_GPIOB_CLK_ENABLE();

  /*Configure GPIO pin Output Level */
  HAL_GPIO_WritePin(GPIOA, DIR_3_Pin|DIR_2_Pin, GPIO_PIN_RESET);

  /*Configure GPIO pin Output Level */
  HAL_GPIO_WritePin(GPIOB, DIR_1_Pin|BOOT_1_Pin|LED_1_Pin|LED_2_Pin
                          |LED_3_Pin|LED_4_Pin, GPIO_PIN_RESET);

  /*Configure GPIO pins : DIR_3_Pin DIR_2_Pin */
  GPIO_InitStruct.Pin = DIR_3_Pin|DIR_2_Pin;
  GPIO_InitStruct.Mode = GPIO_MODE_OUTPUT_PP;
  GPIO_InitStruct.Pull = GPIO_PULLDOWN;
  GPIO_InitStruct.Speed = GPIO_SPEED_FREQ_LOW;
  HAL_GPIO_Init(GPIOA, &GPIO_InitStruct);

  /*Configure GPIO pin : DIR_1_Pin */
  GPIO_InitStruct.Pin = DIR_1_Pin;
  GPIO_InitStruct.Mode = GPIO_MODE_OUTPUT_PP;
  GPIO_InitStruct.Pull = GPIO_PULLDOWN;
  GPIO_InitStruct.Speed = GPIO_SPEED_FREQ_LOW;
  HAL_GPIO_Init(DIR_1_GPIO_Port, &GPIO_InitStruct);

  /*Configure GPIO pins : BOOT_1_Pin LED_1_Pin LED_2_Pin LED_3_Pin
                           LED_4_Pin */
  GPIO_InitStruct.Pin = BOOT_1_Pin|LED_1_Pin|LED_2_Pin|LED_3_Pin
                          |LED_4_Pin;
  GPIO_InitStruct.Mode = GPIO_MODE_OUTPUT_PP;
  GPIO_InitStruct.Pull = GPIO_NOPULL;
  GPIO_InitStruct.Speed = GPIO_SPEED_FREQ_LOW;
  HAL_GPIO_Init(GPIOB, &GPIO_InitStruct);

  /*Configure GPIO pins : TACH_1_Pin TACH_2_Pin TACH_3_Pin */
  GPIO_InitStruct.Pin = TACH_1_Pin|TACH_2_Pin|TACH_3_Pin;
  GPIO_InitStruct.Mode = GPIO_MODE_IT_RISING;
  GPIO_InitStruct.Pull = GPIO_NOPULL;
  HAL_GPIO_Init(GPIOB, &GPIO_InitStruct);

}

/* USER CODE BEGIN 4 */

//UART Callback for testing purposes
void HAL_UART_RxCpltCallback(UART_HandleTypeDef *huart)
{
	__NOP();
}
/* USER CODE END 4 */

void Error_Handler(void)
{
}

/************************ (C) COPYRIGHT STMicroelectronics *****END OF FILE****/
